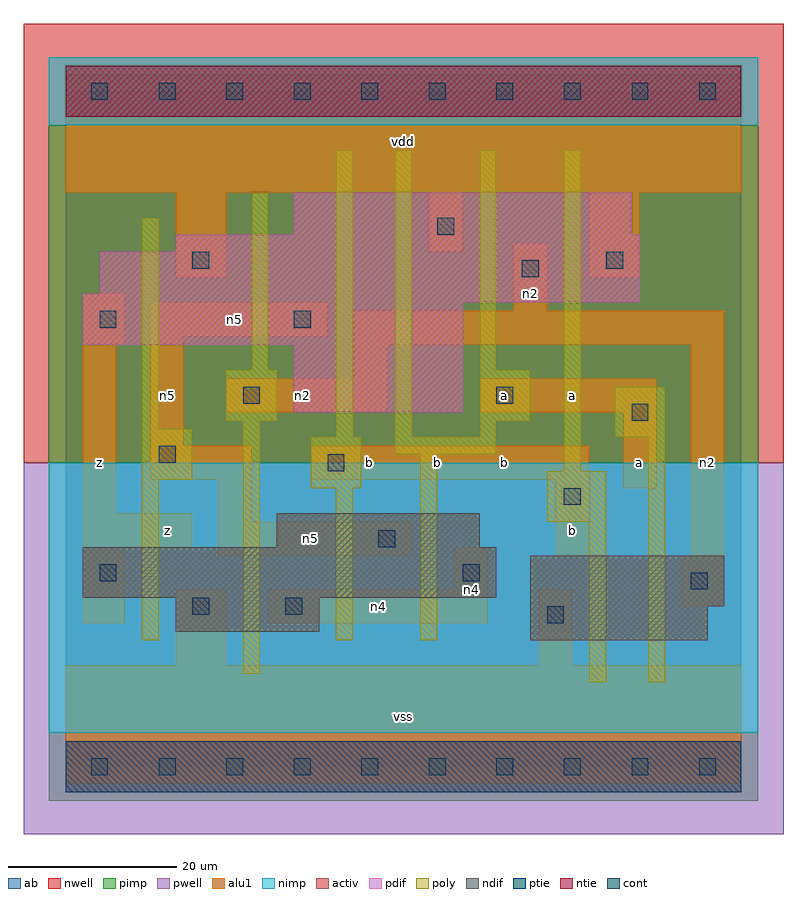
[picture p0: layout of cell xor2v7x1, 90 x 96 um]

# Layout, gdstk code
import gdstk
lib = gdstk.Library(unit=1e-6, precision=1e-09)
def R(c, l, rs):  # rectangles x0, y0, x1, y1
    for r in rs: c.add(gdstk.rectangle(r[:2], r[2:], *l))
def A(c, l, x, y, w, h, nx, ny, dx, dy):  # array of equal rectangles
    R(c, l, [(x+i*dx, y+j*dy, x+i*dx+w, y+j*dy+h) for i in range(nx) for j in range(ny)])
ndif = (3, 0)
pdif = (4, 0)
ntie = (5, 0)
ptie = (6, 0)
cont = (25, 0)
pwell = (41, 0)
nwell = (42, 0)
activ = (43, 0)
pimp = (44, 0)
nimp = (45, 0)
poly = (46, 0)
alu1 = (49, 0)
ab = (63, 0)

xor2v7x1 = lib.new_cell('xor2v7x1')
R(xor2v7x1, ndif, [(55,15,76,19), (13,16,30,20), (55,19,78,25), (2,20,51,26), (25,26,49,30)])
R(xor2v7x1, pdif, [(27,42,47,50), (2,50,47,55), (2,55,68,56), (4,56,68,61), (13,61,68,63), (27,63,67,68)])
R(xor2v7x1, ntie, [(0,77,80,83)])
R(xor2v7x1, ptie, [(0,-3,80,3)])
A(xor2v7x1, cont, 3, -1, 2, 2, 10, 2, 8, 80)
R(xor2v7x1, cont, [(57,17,59,19), (15,18,17,20), (26,18,28,20), (74,21,76,23), (4,22,6,24), (47,22,49,24), (37,26,39,28), (59,31,61,33), (31,35,33,37), (11,36,13,38), (67,41,69,43), (21,43,23,45), (51,43,53,45), (4,52,6,54), (27,52,29,54), (54,58,56,60), (15,59,17,61), (64,59,66,61), (44,63,46,65)])
R(xor2v7x1, pwell, [(-5,-8,85,36)])
R(xor2v7x1, nwell, [(-5,36,85,88)])
R(xor2v7x1, activ, [(0,-3,80,3), (55,15,76,19), (13,16,30,20), (55,19,78,25), (2,20,51,26), (25,26,49,30), (27,42,47,50), (2,50,47,55), (2,55,68,56), (4,56,68,61), (13,61,68,63), (27,63,67,68), (0,77,80,83)])
R(xor2v7x1, pimp, [(-2,-4,82,4), (-2,36,82,76)])
R(xor2v7x1, nimp, [(-2,4,82,36), (-2,76,82,84)])
R(xor2v7x1, poly, [(62,10,64,29), (69,10,71,39), (21,11,23,41), (9,15,11,34), (32,15,34,33), (42,15,44,37), (57,29,64,35), (29,33,35,39), (9,34,15,40), (59,35,61,73), (39,37,51,39), (32,39,34,73), (39,39,41,73), (49,39,51,41), (65,39,71,45), (9,40,11,65), (19,41,25,47), (49,41,55,47), (22,47,24,68), (49,47,51,73)])
R(xor2v7x1, alu1, [(0,-2,80,12), (13,12,19,21), (56,12,60,21), (2,17,7,26), (24,17,50,21), (73,19,78,25), (46,21,50,26), (18,25,41,29), (58,25,62,34), (74,25,78,50), (2,26,15,30), (18,29,22,34), (2,30,6,50), (66,33,70,42), (10,34,22,38), (29,34,62,38), (10,38,14,51), (19,42,38,46), (49,42,70,46), (34,46,38,50), (2,50,7,56), (34,50,78,54), (10,51,31,55), (53,54,57,62), (13,58,19,68), (62,58,68,68), (43,61,47,68), (0,68,80,82)])
R(xor2v7x1, ab, [(0,0,80,80)])
xor2v7x1.add(gdstk.Label('n5', (12,44), layer=49, texttype=0))
xor2v7x1.add(gdstk.Label('n2', (28,44), layer=49, texttype=0))
xor2v7x1.add(gdstk.Label('n5', (20,53), layer=49, texttype=0))
xor2v7x1.add(gdstk.Label('n4', (48,21), layer=49, texttype=0))
xor2v7x1.add(gdstk.Label('n4', (37,19), layer=49, texttype=0))
xor2v7x1.add(gdstk.Label('n5', (29,27), layer=49, texttype=0))
xor2v7x1.add(gdstk.Label('n2', (55,56), layer=49, texttype=0))
xor2v7x1.add(gdstk.Label('n2', (76,36), layer=49, texttype=0))
xor2v7x1.add(gdstk.Label('z', (4,36), layer=49, texttype=0))
xor2v7x1.add(gdstk.Label('z', (12,28), layer=49, texttype=0))
xor2v7x1.add(gdstk.Label('b', (36,36), layer=49, texttype=0))
xor2v7x1.add(gdstk.Label('vss', (40,6), layer=49, texttype=0))
xor2v7x1.add(gdstk.Label('b', (44,36), layer=49, texttype=0))
xor2v7x1.add(gdstk.Label('b', (52,36), layer=49, texttype=0))
xor2v7x1.add(gdstk.Label('a', (52,44), layer=49, texttype=0))
xor2v7x1.add(gdstk.Label('vdd', (40,74), layer=49, texttype=0))
xor2v7x1.add(gdstk.Label('b', (60,28), layer=49, texttype=0))
xor2v7x1.add(gdstk.Label('a', (68,36), layer=49, texttype=0))
xor2v7x1.add(gdstk.Label('a', (60,44), layer=49, texttype=0))

lib.write_gds('xor2v7x1.gds')
